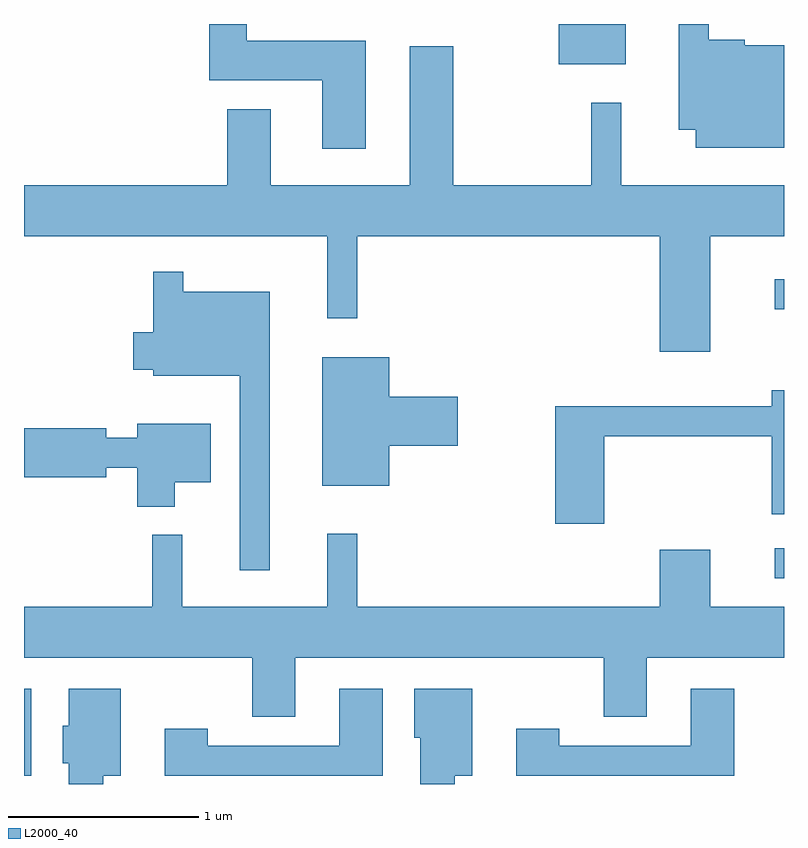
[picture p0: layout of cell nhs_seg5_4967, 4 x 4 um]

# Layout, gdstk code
import gdstk
lib = gdstk.Library(unit=1e-6, precision=1e-09)
def R(c, l, rs):  # rectangles x0, y0, x1, y1
    for r in rs: c.add(gdstk.rectangle(r[:2], r[2:], *l))
def P(c, l, *ps):  # polygons
    for p in ps: c.add(gdstk.Polygon(p, *l))
L2000_40 = (2000, 40)

nhs_seg5_4967 = lib.new_cell('nhs_seg5_4967')
R(nhs_seg5_4967, L2000_40, [(331.611,1516.116,331.649,1516.574), (335.563,1517.156,335.611,1517.314), (335.563,1518.571,335.611,1518.729), (334.426,1519.861,334.779,1520.072)])
P(nhs_seg5_4967, L2000_40, [(333.409,1519.984),(332.784,1519.984),(332.784,1520.072),(332.586,1520.072),(332.586,1519.776),(333.181,1519.776),(333.181,1519.416),(333.409,1519.416)],
  [(335.611,1519.959),(335.404,1519.959),(335.404,1519.989),(335.214,1519.989),(335.214,1520.072),(335.056,1520.072),(335.056,1519.516),(335.146,1519.516),(335.146,1519.421),(335.611,1519.421)],
  [(335.224,1518.956),(335.611,1518.956),(335.611,1519.224),(334.754,1519.224),(334.754,1519.658),(334.596,1519.658),(334.596,1519.224),(333.869,1519.224),(333.869,1519.954),(333.641,1519.954),(333.641,1519.224),(332.909,1519.224),(332.909,1519.624),(332.681,1519.624),(332.681,1519.224),(331.611,1519.224),(331.611,1518.956),(333.206,1518.956),(333.206,1518.523),(333.364,1518.523),(333.364,1518.956),(334.956,1518.956),(334.956,1518.346),(335.224,1518.346)],
  [(332.904,1518.664),(332.449,1518.664),(332.449,1518.768),(332.291,1518.768),(332.291,1518.449),(332.186,1518.449),(332.186,1518.251),(332.291,1518.251),(332.291,1518.221),(332.746,1518.221),(332.746,1517.198),(332.904,1517.198)],
  [(333.534,1517.851),(333.894,1517.851),(333.894,1518.109),(333.534,1518.109),(333.534,1518.319),(333.181,1518.319),(333.181,1517.641),(333.534,1517.641)],
  [(334.664,1517.901),(335.546,1517.901),(335.546,1517.491),(335.611,1517.491),(335.611,1518.144),(335.546,1518.144),(335.546,1518.059),(334.406,1518.059),(334.406,1517.441),(334.664,1517.441)],
  [(332.404,1517.661),(332.594,1517.661),(332.594,1517.969),(332.206,1517.969),(332.206,1517.894),(332.044,1517.894),(332.044,1517.944),(331.611,1517.944),(331.611,1517.686),(332.044,1517.686),(332.044,1517.736),(332.206,1517.736),(332.206,1517.531),(332.404,1517.531)],
  [(333.039,1516.736),(334.661,1516.736),(334.661,1516.426),(334.889,1516.426),(334.889,1516.736),(335.611,1516.736),(335.611,1517.004),(335.224,1517.004),(335.224,1517.304),(334.956,1517.304),(334.956,1517.004),(333.364,1517.004),(333.364,1517.388),(333.206,1517.388),(333.206,1517.004),(332.444,1517.004),(332.444,1517.383),(332.286,1517.383),(332.286,1517.004),(331.611,1517.004),(331.611,1516.736),(332.811,1516.736),(332.811,1516.426),(333.039,1516.426)],
  [(333.879,1516.116),(333.969,1516.116),(333.969,1516.574),(333.666,1516.574),(333.666,1516.316),(333.696,1516.316),(333.696,1516.072),(333.879,1516.072)],
  [(335.349,1516.574),(335.121,1516.574),(335.121,1516.274),(334.429,1516.274),(334.429,1516.364),(334.201,1516.364),(334.201,1516.116),(335.349,1516.116)],
  [(333.499,1516.574),(333.271,1516.574),(333.271,1516.274),(332.579,1516.274),(332.579,1516.364),(332.351,1516.364),(332.351,1516.116),(333.499,1516.116)],
  [(332.029,1516.116),(332.119,1516.116),(332.119,1516.574),(331.846,1516.574),(331.846,1516.379),(331.816,1516.379),(331.816,1516.181),(331.846,1516.181),(331.846,1516.072),(332.029,1516.072)])

lib.write_gds('nhs_seg5_4967.gds')
